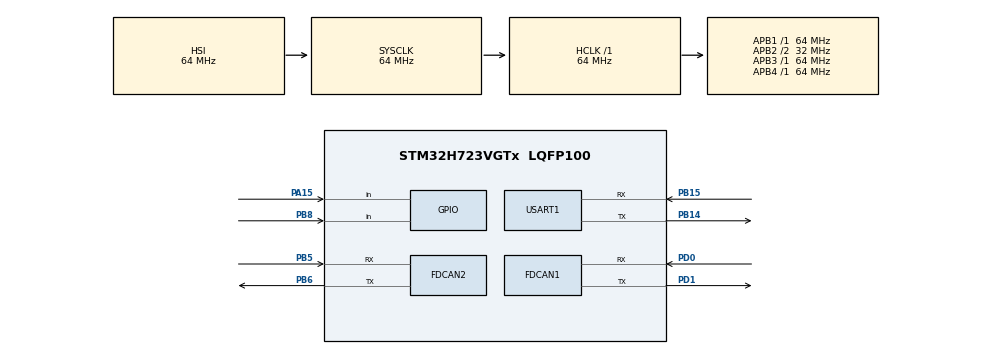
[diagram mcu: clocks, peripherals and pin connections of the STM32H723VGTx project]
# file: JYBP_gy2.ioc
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CORTEX_M7.default_mode_Activation=1
FDCAN1.CalculateBaudRateNominal=1000000
FDCAN1.CalculateTimeBitNominal=1000
FDCAN1.CalculateTimeQuantumNominal=83.33333333333333
FDCAN1.ExtFiltersNbr=2
FDCAN1.NominalPrescaler=4
FDCAN1.NominalTimeSeg1=9
FDCAN1.RxFifo0ElmtsNbr=2
FDCAN1.TxFifoQueueElmtsNbr=3
FDCAN2.CalculateBaudRateNominal=1000000
FDCAN2.CalculateTimeBitNominal=1000
FDCAN2.CalculateTimeQuantumNominal=83.33333333333333
FDCAN2.ExtFiltersNbr=2
FDCAN2.NominalPrescaler=4
FDCAN2.NominalTimeSeg1=9
FDCAN2.RxFifo0ElmtsNbr=2
FDCAN2.TxFifoQueueElmtsNbr=3
Mcu.Family=STM32H7
Mcu.Name=STM32H723VGTx
Mcu.Package=LQFP100
NVIC.FDCAN1_IT0_IRQn=true\:0\:0\:false\:false\:true\:true\:true\:true
NVIC.FDCAN1_IT1_IRQn=true\:0\:0\:false\:false\:true\:true\:true\:true
NVIC.FDCAN2_IT0_IRQn=true\:0\:0\:false\:false\:true\:true\:true\:true
NVIC.FDCAN2_IT1_IRQn=true\:0\:0\:false\:false\:true\:true\:true\:true
NVIC.PriorityGroup=NVIC_PRIORITYGROUP_4
NVIC.TIM2_IRQn=true\:0\:0\:false\:false\:true\:true\:true\:true
NVIC.TIM3_IRQn=true\:1\:0\:true\:false\:true\:true\:true\:true
PA15(JTDI).GPIO_PuPd=GPIO_PULLUP
PA15(JTDI).Signal=GPIO_Input
PB14.Mode=Asynchronous
PB14.Signal=USART1_TX
PB15.Mode=Asynchronous
PB15.Signal=USART1_RX
PB5.Mode=FDCAN_Activate
PB5.Signal=FDCAN2_RX
PB6.Mode=FDCAN_Activate
PB6.Signal=FDCAN2_TX
PB8.GPIO_PuPd=GPIO_PULLUP
PB8.Signal=GPIO_Input
PD0.Mode=FDCAN_Activate
PD0.Signal=FDCAN1_RX
PD1.Mode=FDCAN_Activate
PD1.Signal=FDCAN1_TX
PH0-OSC_IN.Mode=HSE-External-Oscillator
PH0-OSC_IN.Signal=RCC_OSC_IN
PH1-OSC_OUT.Mode=HSE-External-Oscillator
PH1-OSC_OUT.Signal=RCC_OSC_OUT
ProjectManager.HeapSize=0x200
ProjectManager.StackSize=0x400
ProjectManager.TargetToolchain=MDK-ARM V5.32
RCC.ADCFreq_Value=129000000
RCC.APB1Freq_Value=64000000
RCC.APB2Freq_Value=32000000
RCC.APB3Freq_Value=64000000
RCC.APB4Freq_Value=64000000
RCC.CortexFreq_Value=64000000
RCC.D2PPRE2=RCC_APB2_DIV2
RCC.DIVM1=4
RCC.DIVN1=12
RCC.DIVQ1=4
RCC.HCLKFreq_Value=64000000
RCC.PLLFRACN=0
RCC.SYSCLKFreq_VALUE=64000000
RCC.USBFreq_Value=48000000
TIM2.Period=999
TIM2.Prescaler=3199
TIM3.Period=9999
TIM3.Prescaler=639
USART1.VirtualMode-Asynchronous=VM_ASYNC
VP_MEMORYMAP_VS_MEMORYMAP.Mode=CurAppReg
VP_TIM2_VS_ClockSourceINT.Mode=Internal
VP_TIM3_VS_ClockSourceINT.Mode=Internal
board=custom

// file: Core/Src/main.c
/* USER CODE BEGIN Header */
/**
  ******************************************************************************
  * @file           : main.c
  * @brief          : Main program body
  ******************************************************************************
  * @attention
  *
  * Copyright (c) 2025 STMicroelectronics.
  * All rights reserved.
  *
  * This software is licensed under terms that can be found in the LICENSE file
  * in the root directory of this software component.
  * If no LICENSE file comes with this software, it is provided AS-IS.
  *
  ******************************************************************************
  */
/* USER CODE END Header */
#include "main.h"

/* USER CODE BEGIN Includes */
#include "ad_can.h" // 新增：包含共享頭文件
/* USER CODE END Includes */

/* USER CODE BEGIN PD */

//#define LASER_ID 0x101        // ????? CAN ID
//#define MOTOR_POS_ID 0x302    // CyberGear ???? CAN ID
#define TARGET_DISTANCE 330.0 // ????,?? mm
#define NOISE_THRESHOLD 25.0  // ?????,?25mm
#define ALPHA 0.05            // EMA ????
#define WINDOW_VAR 1200       // ????,60s / 0.05s = 1200 ??
#define STOP_THRESHOLD 0.000025 // ??????
#define TREND_THRESHOLD 10.0  // ????,?10mm
#define CONTROL_INTERVAL 600   // ????,30s
#define STOP_PIN GPIO_PIN_0   // ????,PA0
#define STOP_PORT GPIOA
#define PAUSE_PIN GPIO_PIN_1  // ????,PA1

/* USER CODE END PD */

FDCAN_HandleTypeDef hfdcan1;
FDCAN_HandleTypeDef hfdcan2;

TIM_HandleTypeDef htim2;
TIM_HandleTypeDef htim3;

UART_HandleTypeDef huart1;

/* USER CODE BEGIN PV */

float laser_ema = 330.0f;   // EMA 值，初始為目標距�? (mm)
float motor_pos = 0;        // 電機角度 (�?)
float last_ema = 330.0f;    // 上次 EMA �?
float variance = 0;         // 窗口方差
float window_data[WINDOW_VAR]; // 方差計算窗口
uint32_t window_idx = 0;    // 窗口索引
uint8_t is_stopped = 0;     // 停止�?態標�?
uint8_t rx_data[8] = {0x00}; // CAN 接收緩衝�?
uint8_t AD_Return[8] = {0x00};
uint8_t is_timer2_interrupt_triggered = 0; // Timer 2 1s motor
uint8_t is_timer3_interrupt_triggered = 0; // AD converter & CAN
//float ch6_value = 0.0f;     // �?光距離�?? (m)
float ch8_value = 0.0f;     // �?8路模擬量�?
volatile uint8_t ADcan_data_received = 0; // CAN 數據接收標誌
uint32_t control_counter = 0; // 控制計數�?
uint32_t sample_count = 0;   // 樣本計數
float trend = 0.0f;           // 趨勢�? (mm)
uint8_t pinState=0;

CybergearCanInterfaceStm32 cybergear_can_interface_1;  //AD_Can  can_1
CybergearCanInterfaceStm32 cybergear_can_interface_2;  // Motor control can_2

CybergearDriver driver1_(0xFD, 0x001);
CybergearDriver driver2_(0xFD, 0x002);
CybergearDriver AD_Can(0x00, 0x001);

/* USER CODE END PV */

void SystemClock_Config(void);
static void MPU_Config(void);
static void MX_GPIO_Init(void);
static void MX_FDCAN1_Init(void);
static void MX_FDCAN2_Init(void);
static void MX_TIM2_Init(void);
static void MX_TIM3_Init(void);
static void MX_USART1_UART_Init(void);
/* USER CODE BEGIN PFP */

void process_laser_data(float new_data);
float calculate_variance(float *buffer, uint32_t size);

/* USER CODE END PFP */

/* USER CODE BEGIN 0 */
void HAL_TIM_PeriodElapsedCallback(TIM_HandleTypeDef *htim)
{
    if (htim->Instance == TIM2)  // �?查是否是 TIM2 的中�?
    {
        // 设置标志位，通知主循环执行相应�?�辑
        is_timer2_interrupt_triggered = 1;
    }
    if (htim->Instance == TIM3)  // �?查是否是 TIM3 的中�?
    {
        // 设置标志位，通知主循环执行相应�?�辑
        is_timer3_interrupt_triggered = 1;
    }
}

float calculate_variance(float *buffer, uint32_t size)
{
    float mean = 0.0f;
    float sum_sq = 0.0f;
    for (uint32_t i = 0; i < size; i++)
    {
        mean += buffer[i];
    }
    mean /= size;
    for (uint32_t i = 0; i < size; i++)
    {
        float diff = buffer[i] - mean;
        sum_sq += diff * diff;
    }
    return sum_sq / size;
}

// �?光數據處�?

void process_laser_data(float laserrawdata)
{
    // 異常值剔�?
    if (fabsf(laserrawdata - TARGET_DISTANCE) > NOISE_THRESHOLD)
    {
        laserrawdata = (window_idx > 0) ? window_data[(window_idx-1) % WINDOW_VAR] : TARGET_DISTANCE;
    }

    // 更新窗口
    window_data[window_idx] = laserrawdata;
    window_idx = (window_idx + 1) % WINDOW_VAR; // 限制�? [0, 1199]
    if (sample_count < WINDOW_VAR) // 限制不超�? 1200
    {
        sample_count++;
    }

    // EMA 平滑
    laser_ema = ALPHA * laserrawdata + (1.0f - ALPHA) * laser_ema;

    // 停止檢測
    is_stopped = 0;
    if (sample_count >= WINDOW_VAR)
    {
        variance = calculate_variance(window_data, WINDOW_VAR);
        is_stopped = (variance < STOP_THRESHOLD);
    }

    // 趨勢計算
    if (control_counter < CONTROL_INTERVAL) // 限制不超�? 600
    {
        control_counter++;
    }
    if (control_counter >= CONTROL_INTERVAL && !is_stopped)
    {
        trend = laser_ema - last_ema;
        if (trend > TREND_THRESHOLD) // 距離變大，下�?
        {
            motor_pos += 0.1f;
        }
        else if (trend < -TREND_THRESHOLD) // 距離變小，抬�?
        {
            motor_pos -= 0.1f;
        }
        control_counter = 0;
        last_ema = laser_ema;
    }

  // 調試輸出
  //  printf("Laser: %.3f mm, EMA: %.3f mm, Variance: %.6f, Stopped: %d, Motor: %.3f deg\n",
  //  laserrawdata, laser_ema, variance, is_stopped, motor_pos);
}
/* USER CODE END 0 */

int main(void)
{

  /* MPU Configuration--------------------------------------------------------*/
  MPU_Config();

  /* MCU Configuration--------------------------------------------------------*/

  /* Reset of all peripherals, Initializes the Flash interface and the Systick. */
  HAL_Init();

  /* Configure the system clock */
  SystemClock_Config();

  /* Initialize all configured peripherals */
  MX_GPIO_Init();
  MX_FDCAN1_Init();
  MX_FDCAN2_Init();
  MX_TIM2_Init();
  MX_TIM3_Init();
  MX_USART1_UART_Init();
  /* USER CODE BEGIN 2 */
  HAL_TIM_Base_Start_IT(&htim2);
  HAL_TIM_Base_Start_IT(&htim3);

  cybergear_can_interface_2.initCan(&hfdcan2);
	cybergear_can_interface_1.initCan(&hfdcan1);

  driver1_.init(&cybergear_can_interface_2);
  driver2_.init(&cybergear_can_interface_2);
	AD_Can.init(&cybergear_can_interface_1);

	//uint8_t test_data[8] = {0x01, 0x02, 0x03, 0x04, 0x05, 0x06, 0x07, 0x08};
	//cybergear_can_interface_1.send_message(0x00AA0601, test_data, 8, true);
	//cybergear_can_interface_1.reset_motor();

  driver1_.reset_motor();
  driver1_.set_mech_position_to_zero();
  driver1_.enable_motor();
  driver1_.set_run_mode(CMD_CONTROL);

  driver2_.reset_motor();
  driver2_.set_mech_position_to_zero();
  driver2_.enable_motor();
  driver2_.set_run_mode(CMD_CONTROL);

	// 初始化激光窗�?
    for (uint32_t i = 0; i < WINDOW_VAR; i++)
    {
        window_data[i] = TARGET_DISTANCE;
    }

  /* USER CODE END 2 */

  /* Infinite loop */
  while (1)
  {

    /* USER CODE BEGIN 3 */
  //  HAL_GPIO_TogglePin(GPIOB, GPIO_PIN_8);
		HAL_Delay(500);
		pinState = HAL_GPIO_ReadPin(GPIOB, GPIO_PIN_8);

    unsigned long id_return_AD;
    uint8_t AD_lens;
    uint16_t ch8_raw=0;

    if (is_timer2_interrupt_triggered)
    {
        // 执行定时器中断触发的逻辑

        if (pinState == GPIO_PIN_SET) {
         driver1_.motor_control(motor_pos, 0.1f, 0.0f, 15, 1);
		} else {
                  driver2_.reset_motor();
                  driver1_.reset_motor();
                  HAL_Delay(500);
              }
        is_timer2_interrupt_triggered = 0;      // 清除标志�?
    }

    if (is_timer3_interrupt_triggered)
    {
        // 执行定时器中断触发的逻辑
        AD_Can.Send_ADC_Read();
        uint32_t tickstart = HAL_GetTick();

        while (!ADcan_data_received && (HAL_GetTick() - tickstart) < 100)
            {
                HAL_Delay(1);

            }

			 if (ADcan_data_received)
            {
							ch8_raw = (rx_data[6] << 8) | rx_data[7];
              ch8_value = (float)ch8_raw / 1000.0f;
              ADcan_data_received = 0; //
            }
            else
            {

            }

        is_timer3_interrupt_triggered = 0;      // 清除标志�?
    }

   }
  /* USER CODE END 3 */
}

void SystemClock_Config(void)
{
  RCC_OscInitTypeDef RCC_OscInitStruct = {0};
  RCC_ClkInitTypeDef RCC_ClkInitStruct = {0};

  /** Supply configuration update enable
  */
  HAL_PWREx_ConfigSupply(PWR_LDO_SUPPLY);

  /** Configure the main internal regulator output voltage
  */
  __HAL_PWR_VOLTAGESCALING_CONFIG(PWR_REGULATOR_VOLTAGE_SCALE3);

  while(!__HAL_PWR_GET_FLAG(PWR_FLAG_VOSRDY)) {}

  /** Initializes the RCC Oscillators according to the specified parameters
  * in the RCC_OscInitTypeDef structure.
  */
  RCC_OscInitStruct.OscillatorType = RCC_OSCILLATORTYPE_HSI;
  RCC_OscInitStruct.HSIState = RCC_HSI_DIV1;
  RCC_OscInitStruct.HSICalibrationValue = 64;
  RCC_OscInitStruct.PLL.PLLState = RCC_PLL_ON;
  RCC_OscInitStruct.PLL.PLLSource = RCC_PLLSOURCE_HSI;
  RCC_OscInitStruct.PLL.PLLM = 4;
  RCC_OscInitStruct.PLL.PLLN = 12;
  RCC_OscInitStruct.PLL.PLLP = 2;
  RCC_OscInitStruct.PLL.PLLQ = 4;
  RCC_OscInitStruct.PLL.PLLR = 2;
  RCC_OscInitStruct.PLL.PLLRGE = RCC_PLL1VCIRANGE_3;
  RCC_OscInitStruct.PLL.PLLVCOSEL = RCC_PLL1VCOWIDE;
  RCC_OscInitStruct.PLL.PLLFRACN = 0;
  if (HAL_RCC_OscConfig(&RCC_OscInitStruct) != HAL_OK)
  {
    Error_Handler();
  }

  /** Initializes the CPU, AHB and APB buses clocks
  */
  RCC_ClkInitStruct.ClockType = RCC_CLOCKTYPE_HCLK|RCC_CLOCKTYPE_SYSCLK
                              |RCC_CLOCKTYPE_PCLK1|RCC_CLOCKTYPE_PCLK2
                              |RCC_CLOCKTYPE_D3PCLK1|RCC_CLOCKTYPE_D1PCLK1;
  RCC_ClkInitStruct.SYSCLKSource = RCC_SYSCLKSOURCE_HSI;
  RCC_ClkInitStruct.SYSCLKDivider = RCC_SYSCLK_DIV1;
  RCC_ClkInitStruct.AHBCLKDivider = RCC_HCLK_DIV1;
  RCC_ClkInitStruct.APB3CLKDivider = RCC_APB3_DIV1;
  RCC_ClkInitStruct.APB1CLKDivider = RCC_APB1_DIV1;
  RCC_ClkInitStruct.APB2CLKDivider = RCC_APB2_DIV2;
  RCC_ClkInitStruct.APB4CLKDivider = RCC_APB4_DIV1;

  if (HAL_RCC_ClockConfig(&RCC_ClkInitStruct, FLASH_LATENCY_1) != HAL_OK)
  {
    Error_Handler();
  }
}

static void MX_FDCAN1_Init(void)
{

  hfdcan1.Instance = FDCAN1;
  hfdcan1.Init.FrameFormat = FDCAN_FRAME_CLASSIC;
  hfdcan1.Init.Mode = FDCAN_MODE_NORMAL;
  hfdcan1.Init.AutoRetransmission = DISABLE;
  hfdcan1.Init.TransmitPause = DISABLE;
  hfdcan1.Init.ProtocolException = DISABLE;
  hfdcan1.Init.NominalPrescaler = 4;
  hfdcan1.Init.NominalSyncJumpWidth = 1;
  hfdcan1.Init.NominalTimeSeg1 = 9;
  hfdcan1.Init.NominalTimeSeg2 = 2;
  hfdcan1.Init.DataPrescaler = 1;
  hfdcan1.Init.DataSyncJumpWidth = 1;
  hfdcan1.Init.DataTimeSeg1 = 1;
  hfdcan1.Init.DataTimeSeg2 = 1;
  hfdcan1.Init.MessageRAMOffset = 0;
  hfdcan1.Init.StdFiltersNbr = 0;
  hfdcan1.Init.ExtFiltersNbr = 2;
  hfdcan1.Init.RxFifo0ElmtsNbr = 2;
  hfdcan1.Init.RxFifo0ElmtSize = FDCAN_DATA_BYTES_8;
  hfdcan1.Init.RxFifo1ElmtsNbr = 0;
  hfdcan1.Init.RxFifo1ElmtSize = FDCAN_DATA_BYTES_8;
  hfdcan1.Init.RxBuffersNbr = 0;
  hfdcan1.Init.RxBufferSize = FDCAN_DATA_BYTES_8;
  hfdcan1.Init.TxEventsNbr = 0;
  hfdcan1.Init.TxBuffersNbr = 0;
  hfdcan1.Init.TxFifoQueueElmtsNbr = 3;
  hfdcan1.Init.TxFifoQueueMode = FDCAN_TX_FIFO_OPERATION;
  hfdcan1.Init.TxElmtSize = FDCAN_DATA_BYTES_8;
  if (HAL_FDCAN_Init(&hfdcan1) != HAL_OK)
  {
    Error_Handler();
  }

}

static void MX_FDCAN2_Init(void)
{

  hfdcan2.Instance = FDCAN2;
  hfdcan2.Init.FrameFormat = FDCAN_FRAME_CLASSIC;
  hfdcan2.Init.Mode = FDCAN_MODE_NORMAL;
  hfdcan2.Init.AutoRetransmission = DISABLE;
  hfdcan2.Init.TransmitPause = DISABLE;
  hfdcan2.Init.ProtocolException = DISABLE;
  hfdcan2.Init.NominalPrescaler = 4;
  hfdcan2.Init.NominalSyncJumpWidth = 1;
  hfdcan2.Init.NominalTimeSeg1 = 9;
  hfdcan2.Init.NominalTimeSeg2 = 2;
  hfdcan2.Init.DataPrescaler = 1;
  hfdcan2.Init.DataSyncJumpWidth = 1;
  hfdcan2.Init.DataTimeSeg1 = 1;
  hfdcan2.Init.DataTimeSeg2 = 1;
  hfdcan2.Init.MessageRAMOffset = 0;
  hfdcan2.Init.StdFiltersNbr = 0;
  hfdcan2.Init.ExtFiltersNbr = 2;
  hfdcan2.Init.RxFifo0ElmtsNbr = 2;
  hfdcan2.Init.RxFifo0ElmtSize = FDCAN_DATA_BYTES_8;
  hfdcan2.Init.RxFifo1ElmtsNbr = 0;
  hfdcan2.Init.RxFifo1ElmtSize = FDCAN_DATA_BYTES_8;
  hfdcan2.Init.RxBuffersNbr = 0;
  hfdcan2.Init.RxBufferSize = FDCAN_DATA_BYTES_8;
  hfdcan2.Init.TxEventsNbr = 0;
  hfdcan2.Init.TxBuffersNbr = 0;
  hfdcan2.Init.TxFifoQueueElmtsNbr = 3;
  hfdcan2.Init.TxFifoQueueMode = FDCAN_TX_FIFO_OPERATION;
  hfdcan2.Init.TxElmtSize = FDCAN_DATA_BYTES_8;
  if (HAL_FDCAN_Init(&hfdcan2) != HAL_OK)
  {
    Error_Handler();
  }

}

static void MX_TIM2_Init(void)
{

  TIM_ClockConfigTypeDef sClockSourceConfig = {0};
  TIM_MasterConfigTypeDef sMasterConfig = {0};

  htim2.Instance = TIM2;
  htim2.Init.Prescaler = 3199;
  htim2.Init.CounterMode = TIM_COUNTERMODE_UP;
  htim2.Init.Period = 999;
  htim2.Init.ClockDivision = TIM_CLOCKDIVISION_DIV1;
  htim2.Init.AutoReloadPreload = TIM_AUTORELOAD_PRELOAD_DISABLE;
  if (HAL_TIM_Base_Init(&htim2) != HAL_OK)
  {
    Error_Handler();
  }
  sClockSourceConfig.ClockSource = TIM_CLOCKSOURCE_INTERNAL;
  if (HAL_TIM_ConfigClockSource(&htim2, &sClockSourceConfig) != HAL_OK)
  {
    Error_Handler();
  }
  sMasterConfig.MasterOutputTrigger = TIM_TRGO_RESET;
  sMasterConfig.MasterSlaveMode = TIM_MASTERSLAVEMODE_DISABLE;
  if (HAL_TIMEx_MasterConfigSynchronization(&htim2, &sMasterConfig) != HAL_OK)
  {
    Error_Handler();
  }

}

static void MX_TIM3_Init(void)
{

  TIM_ClockConfigTypeDef sClockSourceConfig = {0};
  TIM_MasterConfigTypeDef sMasterConfig = {0};

  htim3.Instance = TIM3;
  htim3.Init.Prescaler = 639;
  htim3.Init.CounterMode = TIM_COUNTERMODE_UP;
  htim3.Init.Period = 9999;
  htim3.Init.ClockDivision = TIM_CLOCKDIVISION_DIV1;
  htim3.Init.AutoReloadPreload = TIM_AUTORELOAD_PRELOAD_DISABLE;
  if (HAL_TIM_Base_Init(&htim3) != HAL_OK)
  {
    Error_Handler();
  }
  sClockSourceConfig.ClockSource = TIM_CLOCKSOURCE_INTERNAL;
  if (HAL_TIM_ConfigClockSource(&htim3, &sClockSourceConfig) != HAL_OK)
  {
    Error_Handler();
  }
  sMasterConfig.MasterOutputTrigger = TIM_TRGO_RESET;
  sMasterConfig.MasterSlaveMode = TIM_MASTERSLAVEMODE_DISABLE;
  if (HAL_TIMEx_MasterConfigSynchronization(&htim3, &sMasterConfig) != HAL_OK)
  {
    Error_Handler();
  }

}

static void MX_USART1_UART_Init(void)
{

  huart1.Instance = USART1;
  huart1.Init.BaudRate = 115200;
  huart1.Init.WordLength = UART_WORDLENGTH_8B;
  huart1.Init.StopBits = UART_STOPBITS_1;
  huart1.Init.Parity = UART_PARITY_NONE;
  huart1.Init.Mode = UART_MODE_TX_RX;
  huart1.Init.HwFlowCtl = UART_HWCONTROL_NONE;
  huart1.Init.OverSampling = UART_OVERSAMPLING_16;
  huart1.Init.OneBitSampling = UART_ONE_BIT_SAMPLE_DISABLE;
  huart1.Init.ClockPrescaler = UART_PRESCALER_DIV1;
  huart1.AdvancedInit.AdvFeatureInit = UART_ADVFEATURE_NO_INIT;
  if (HAL_UART_Init(&huart1) != HAL_OK)
  {
    Error_Handler();
  }
  if (HAL_UARTEx_SetTxFifoThreshold(&huart1, UART_TXFIFO_THRESHOLD_1_8) != HAL_OK)
  {
    Error_Handler();
  }
  if (HAL_UARTEx_SetRxFifoThreshold(&huart1, UART_RXFIFO_THRESHOLD_1_8) != HAL_OK)
  {
    Error_Handler();
  }
  if (HAL_UARTEx_DisableFifoMode(&huart1) != HAL_OK)
  {
    Error_Handler();
  }

}

static void MX_GPIO_Init(void)
{
  GPIO_InitTypeDef GPIO_InitStruct = {0};

  /* GPIO Ports Clock Enable */
  __HAL_RCC_GPIOH_CLK_ENABLE();
  __HAL_RCC_GPIOB_CLK_ENABLE();
  __HAL_RCC_GPIOA_CLK_ENABLE();
  __HAL_RCC_GPIOD_CLK_ENABLE();

  /*Configure GPIO pin : PA15 */
  GPIO_InitStruct.Pin = GPIO_PIN_15;
  GPIO_InitStruct.Mode = GPIO_MODE_INPUT;
  GPIO_InitStruct.Pull = GPIO_PULLUP;
  HAL_GPIO_Init(GPIOA, &GPIO_InitStruct);

  /*Configure GPIO pin : PB8 */
  GPIO_InitStruct.Pin = GPIO_PIN_8;
  GPIO_InitStruct.Mode = GPIO_MODE_INPUT;
  GPIO_InitStruct.Pull = GPIO_PULLUP;
  HAL_GPIO_Init(GPIOB, &GPIO_InitStruct);

}

/* USER CODE BEGIN 4 */
void fdcanx_send_data(FDCAN_HandleTypeDef *hfdcan, uint32_t id, uint8_t *data, uint32_t len)
{
	FDCAN_TxHeaderTypeDef TxHeader;

  TxHeader.Identifier = id;
  //TxHeader.IdType = FDCAN_STANDARD_ID;																// ��׼ID
	TxHeader.IdType = FDCAN_EXTENDED_ID;																// ��׼ID
  TxHeader.TxFrameType = FDCAN_DATA_FRAME;														// ����֡
  TxHeader.DataLength =  FDCAN_DLC_BYTES_8;																		// �������ݳ���
  TxHeader.ErrorStateIndicator = FDCAN_ESI_ACTIVE;										// ���ô���״ָ̬ʾ
  TxHeader.BitRateSwitch = FDCAN_BRS_OFF;															// �������ɱ䲨����
  TxHeader.FDFormat = FDCAN_CLASSIC_CAN;															// ��ͨCAN��ʽ
  TxHeader.TxEventFifoControl = FDCAN_NO_TX_EVENTS;										// ���ڷ����¼�FIFO����, ���洢
  TxHeader.MessageMarker = 0x00; 			// ���ڸ��Ƶ�TX EVENT FIFO����ϢMaker��ʶ����Ϣ״̬����Χ0��0xFF
  HAL_FDCAN_AddMessageToTxFifoQ(hfdcan, &TxHeader, data)!=HAL_OK;

}
/* USER CODE END 4 */

 /* MPU Configuration */

void MPU_Config(void)
{
  MPU_Region_InitTypeDef MPU_InitStruct = {0};

  /* Disables the MPU */
  HAL_MPU_Disable();

  /** Initializes and configures the Region and the memory to be protected
  */
  MPU_InitStruct.Enable = MPU_REGION_ENABLE;
  MPU_InitStruct.Number = MPU_REGION_NUMBER0;
  MPU_InitStruct.BaseAddress = 0x0;
  MPU_InitStruct.Size = MPU_REGION_SIZE_4GB;
  MPU_InitStruct.SubRegionDisable = 0x87;
  MPU_InitStruct.TypeExtField = MPU_TEX_LEVEL0;
  MPU_InitStruct.AccessPermission = MPU_REGION_NO_ACCESS;
  MPU_InitStruct.DisableExec = MPU_INSTRUCTION_ACCESS_DISABLE;
  MPU_InitStruct.IsShareable = MPU_ACCESS_SHAREABLE;
  MPU_InitStruct.IsCacheable = MPU_ACCESS_NOT_CACHEABLE;
  MPU_InitStruct.IsBufferable = MPU_ACCESS_NOT_BUFFERABLE;

  HAL_MPU_ConfigRegion(&MPU_InitStruct);
  /* Enables the MPU */
  HAL_MPU_Enable(MPU_PRIVILEGED_DEFAULT);

}

void Error_Handler(void)
{
  __disable_irq();
  while (1)
  {
  }
}
